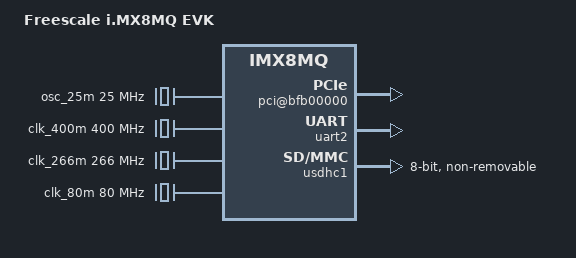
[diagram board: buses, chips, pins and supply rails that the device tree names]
// SPDX-License-Identifier: (GPL-2.0+ OR MIT)
/*
 * Copyright 2020 NXP
 */

/dts-v1/;

#include <dt-bindings/interrupt-controller/arm-gic.h>

/ {
	model = "Freescale i.MX8MQ EVK";
	compatible = "fsl,imx8mq-evk", "fsl,imx8mq";
	interrupt-parent = <&gic>;
	#address-cells = <2>;
	#size-cells = <2>;

	aliases {
		serial1 = &uart2;
		mmc2 = &usdhc1;
	};

	cpus {
		#address-cells = <1>;
		#size-cells = <0>;

		A53_2: cpu@2 {
			device_type = "cpu";
			compatible = "arm,cortex-a53";
			reg = <0x2>;
			clock-latency = <61036>; /* two CLK32 periods */
			next-level-cache = <&A53_L2>;
			enable-method = "psci";
			#cooling-cells = <2>;
		};

		A53_3: cpu@3 {
			device_type = "cpu";
			compatible = "arm,cortex-a53";
			reg = <0x3>;
			clock-latency = <61036>; /* two CLK32 periods */
			next-level-cache = <&A53_L2>;
			enable-method = "psci";
			#cooling-cells = <2>;
		};

		A53_L2: l2-cache0 {
			compatible = "cache";
		};
	};

	pmu {
		compatible = "arm,cortex-a53-pmu";
		interrupts = <GIC_PPI 7 IRQ_TYPE_LEVEL_HIGH>;
		interrupt-parent = <&gic>;
		interrupt-affinity = <&A53_2>, <&A53_3>;
	};

	osc_25m: clock-osc-25m {
		compatible = "fixed-clock";
		#clock-cells = <0>;
		clock-frequency = <25000000>;
		clock-output-names = "osc_25m";
	};

	gic: interrupt-controller@38800000 {
		compatible = "arm,gic-v3";
		reg = <0x0 0x38800000 0 0x10000>, /* GIC Dist */
		      <0x0 0x38880000 0 0xC0000>; /* GICR (RD_base + SGI_base) */
		#interrupt-cells = <3>;
		interrupt-controller;
		interrupts = <GIC_PPI 9 IRQ_TYPE_LEVEL_HIGH>;
		interrupt-parent = <&gic>;
	};

	timer {
		compatible = "arm,armv8-timer";
		interrupts = <GIC_PPI 13 (GIC_CPU_MASK_SIMPLE(6) | IRQ_TYPE_LEVEL_LOW)>, /* Physical Secure */
			     <GIC_PPI 14 (GIC_CPU_MASK_SIMPLE(6) | IRQ_TYPE_LEVEL_LOW)>, /* Physical Non-Secure */
			     <GIC_PPI 11 (GIC_CPU_MASK_SIMPLE(6) | IRQ_TYPE_LEVEL_LOW)>, /* Virtual */
			     <GIC_PPI 10 (GIC_CPU_MASK_SIMPLE(6) | IRQ_TYPE_LEVEL_LOW)>; /* Hypervisor */
		clock-frequency = <8333333>;
	};

	clk_dummy: clock@7 {
		compatible = "fixed-clock";
		#clock-cells = <0>;
		clock-frequency = <0>;
		clock-output-names = "clk_dummy";
	};

	/* The clocks are configured by 1st OS */
	clk_400m: clock@8 {
		compatible = "fixed-clock";
		#clock-cells = <0>;
		clock-frequency = <400000000>;
		clock-output-names = "400m";
	};
	clk_266m: clock@9 {
		compatible = "fixed-clock";
		#clock-cells = <0>;
		clock-frequency = <266000000>;
		clock-output-names = "266m";
	};
	clk_80m: clock@10 {
		compatible = "fixed-clock";
		#clock-cells = <0>;
		clock-frequency = <80000000>;
		clock-output-names = "80m";
	};

	pci@bfb00000 {
		compatible = "pci-host-ecam-generic";
		device_type = "pci";
		bus-range = <0 0>;
		#address-cells = <3>;
		#size-cells = <2>;
		#interrupt-cells = <1>;
		interrupt-map-mask = <0 0 0 7>;
		interrupt-map = <0 0 0 1 &gic GIC_SPI 51 IRQ_TYPE_EDGE_RISING>,
				<0 0 0 2 &gic GIC_SPI 52 IRQ_TYPE_EDGE_RISING>,
				<0 0 0 2 &gic GIC_SPI 53 IRQ_TYPE_EDGE_RISING>,
				<0 0 0 2 &gic GIC_SPI 54 IRQ_TYPE_EDGE_RISING>;
		reg = <0x0 0xbfb00000 0x0 0x100000>;
		ranges = <0x02000000 0x00 0x10000000 0x0 0x10000000 0x00 0x10000>;
	};

	soc@0 {
		compatible = "simple-bus";
		#address-cells = <1>;
		#size-cells = <1>;
		ranges = <0x0 0x0 0x0 0x3e000000>;
		dma-ranges = <0x40000000 0x0 0x40000000 0xc0000000>;

		aips3: bus@30800000 {
			compatible = "fsl,imx8mq-aips-bus", "simple-bus";
			#address-cells = <1>;
			#size-cells = <1>;
			ranges = <0x30800000 0x30800000 0x400000>,
				 <0x08000000 0x08000000 0x10000000>;

			uart2: serial@30890000 {
				compatible = "fsl,imx8mq-uart",
						"fsl,imx6q-uart";
				reg = <0x30890000 0x10000>;
				interrupts = <GIC_SPI 27 IRQ_TYPE_LEVEL_HIGH>;
				status = "disabled";
			};

			usdhc1: mmc@30b40000 {
				compatible = "fsl,imx8mq-usdhc",
						"fsl,imx7d-usdhc";
				reg = <0x30b40000 0x10000>;
				interrupts = <GIC_SPI 22 IRQ_TYPE_LEVEL_HIGH>;
				clock-names = "ipg", "ahb", "per";
				fsl,tuning-start-tap = <20>;
				fsl,tuning-step = <2>;
				status = "disabled";
			};
		};
	};
};

&uart2 {
	clocks = <&osc_25m>,
		<&osc_25m>;
	clock-names = "ipg", "per";
	/delete-property/ dmas;
	/delete-property/ dmas-names;
	status = "okay";
};

&usdhc1 {
	clocks = <&clk_dummy>,
		<&clk_266m>,
		<&clk_400m>;
	/delete-property/assigned-clocks;
	/delete-property/assigned-clock-rates;
	clock-names = "ipg", "ahb", "per";
	bus-width = <8>;
	non-removable;
	status = "okay";
};
